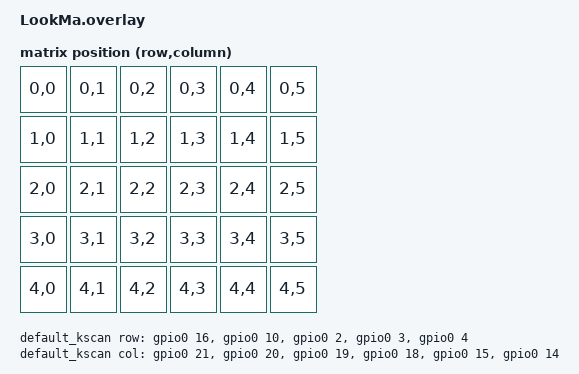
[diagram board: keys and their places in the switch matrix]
#include <dt-bindings/zmk/matrix_transform.h>

/{
    chosen {
        zmk,kscan = &default_kscan;
        zmk,matrix-transform = &default_transform;
    };

    default_kscan: kscan {
        compatible = "zmk,kscan-gpio-matrix";
        label = "default_kscan";
        diode-direction = "col2row";

        row-gpios = <&gpio0 16 (GPIO_ACTIVE_HIGH | GPIO_PULL_DOWN)>,
                    <&gpio0 10 (GPIO_ACTIVE_HIGH | GPIO_PULL_DOWN)>,
                    <&gpio0 2  (GPIO_ACTIVE_HIGH | GPIO_PULL_DOWN)>,
                    <&gpio0 3  (GPIO_ACTIVE_HIGH | GPIO_PULL_DOWN)>,
                    <&gpio0 4  (GPIO_ACTIVE_HIGH | GPIO_PULL_DOWN)>;

        col-gpios = <&gpio0 21 (GPIO_ACTIVE_HIGH)>,
                    <&gpio0 20 (GPIO_ACTIVE_HIGH)>,
                    <&gpio0 19 (GPIO_ACTIVE_HIGH)>,
                    <&gpio0 18 (GPIO_ACTIVE_HIGH)>,
                    <&gpio0 15 (GPIO_ACTIVE_HIGH)>,
                    <&gpio0 14 (GPIO_ACTIVE_HIGH)>;
    };

    default_transform: matrix-transform {
        compatible = "zmk,matrix-transform";
        status = "okay";
        rows = <5>;
        columns = <6>;

        map = <
            RC(0,0) RC(0,1) RC(0,2) RC(0,3) RC(0,4) RC(0,5)
            RC(1,0) RC(1,1) RC(1,2) RC(1,3) RC(1,4) RC(1,5)
            RC(2,0) RC(2,1) RC(2,2) RC(2,3) RC(2,4) RC(2,5)
            RC(3,0) RC(3,1) RC(3,2) RC(3,3) RC(3,4) RC(3,5)
            RC(4,0) RC(4,1) RC(4,2) RC(4,3) RC(4,4) RC(4,5) 
        >;

    };
};

